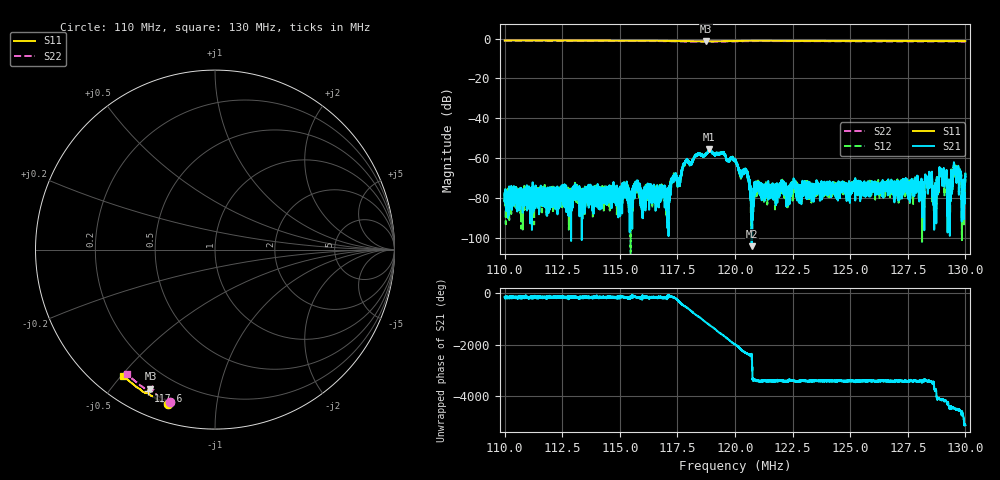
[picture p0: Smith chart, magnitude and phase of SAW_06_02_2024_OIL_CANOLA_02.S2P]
!Agilent Technologies,E5071C,MY46520923,B.12.03
!Date: Wed Feb 07 10:03:11 2024
!Data & Calibration Information:
!Freq	S11:SOLT2(ON)	S21:SOLT2(ON)	S12:SOLT2(ON)	S22:SOLT2(ON)
!PortZ  Port1:50+j0  Port2:50+j0
!Above PortZ is port z conversion or system Z0 setting when saving the data.
!When reading, reference impedance value at option line is always used.
# Hz S dB R 50
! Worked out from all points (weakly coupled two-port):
!   10000 points, 110 MHz to 130 MHz, reference 50 ohm
!   highest |S21| = -55.62 dB at 118.9 MHz (marker M1); lowest = -104.3 dB at 120.7 MHz (marker M2)
!   lowest |S11| = -1.4 dB at 118.8 MHz (marker M3), VSWR 12.68, Z = 5.53 - j31.6 ohm
!   |S11| at or under -10 dB: nowhere
!   |S22| runs from -1.5 to -1.1 dB; largest |S21 - S12| = 0.00018
!   S11 on the Smith chart (normalised r, x): 110 MHz: 0.08, -0.74; 117.6 MHz: 0.10, -0.63; 130 MHz: 0.09, -0.51
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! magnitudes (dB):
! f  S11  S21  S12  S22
! 110 MHz  -0.9  -78.6  -78.3  -1.1
! 113.3 MHz  -1.0  -80.2  -76.8  -1.1
! 116.7 MHz  -1.0  -78.5  -74.7  -1.2
! 117.1 MHz  -1.1  -95.2  -78.8  -1.3
! 117.3 MHz  -1.1  -68.8  -68.0  -1.3
! 117.6 MHz  -1.2  -71.5  -71.5  -1.4
! 117.9 MHz  -1.2  -61.1  -62.1  -1.4
! 118.8 MHz  -1.4  -58.0  -58.2  -1.5
! 118.9 MHz  -1.4  -55.6  -56.2  -1.5
! 120 MHz  -1.2  -61.0  -60.8  -1.3
! 120.5 MHz  -1.1  -67.3  -65.8  -1.2
! 120.7 MHz  -1.0  -104.3  -86.9  -1.2
! 123.3 MHz  -1.1  -76.0  -77.1  -1.3
! 126.7 MHz  -1.2  -73.3  -76.0  -1.4
! 128.1 MHz  -1.2  -82.6  -77.3  -1.4
! 128.5 MHz  -1.2  -70.1  -70.3  -1.4
! 128.7 MHz  -1.2  -75.2  -79.0  -1.4
! 129 MHz  -1.2  -66.5  -67.9  -1.4
! 129.3 MHz  -1.2  -72.6  -71.9  -1.4
! 129.6 MHz  -1.2  -66.3  -65.3  -1.4
! 129.9 MHz  -1.2  -76.9  -72.7  -1.4
! 130 MHz  -1.2  -67.9  -68.4  -1.4
